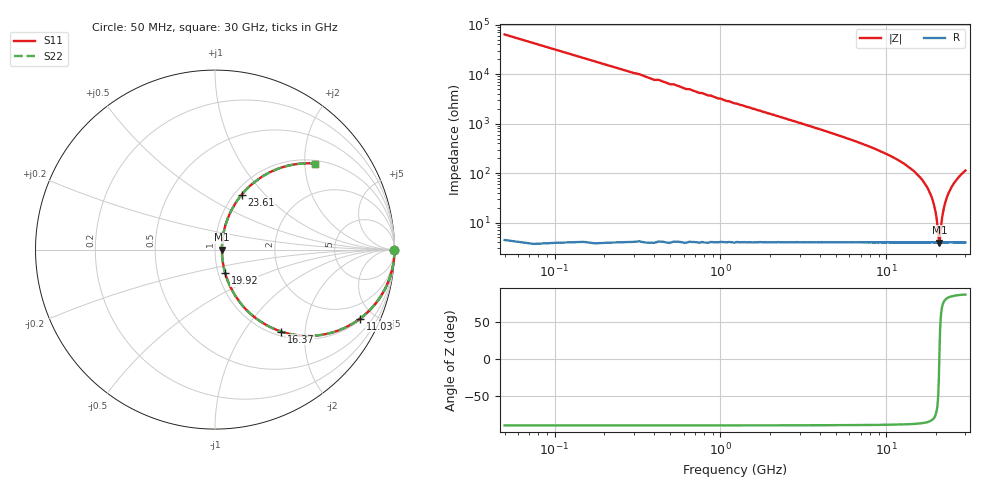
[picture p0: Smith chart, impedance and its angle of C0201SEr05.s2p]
!	AVX Thin Film Operation 	Date: April 2014
!	Description: Accu-P® Series, Thin Film  SMD RF Capacitor
!	Part Number: 02011JR05ZBSTR
# MHZ S MA R 50
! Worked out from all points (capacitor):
!   1201 points, 50 MHz to 30 GHz, reference 50 ohm
!   read as one part in series: C = 50 fF near 199.8 MHz
!   lowest |Z| = 3.95 ohm at 20.89 GHz (marker M1)
!   series resonance near 20.89 GHz, so ESL is about 1.2 nH
!   S11 on the Smith chart (normalised r, x): 50 MHz: open; 11.03 GHz: 1.08, -4.16; 16.37 GHz: 1.08, -1.50; 19.92 GHz: 1.08, -0.29; 23.61 GHz: 1.08, +0.75; 30 GHz: 1.08, +2.26
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50  1 -0.1  0.001571 89.9  0.001571 89.9  1 -0.1
274.625  1 -0.5  0.008629 89.5  0.008629 89.5  1 -0.5
449.333  1 -0.8  0.014 89.2  0.014 89.2  1 -0.8
748.833  1 -1.3  0.024 88.6  0.024 88.6  1 -1.3
1173.125  0.999 -2.1  0.037 87.8  0.037 87.8  0.999 -2.1
2695.583  0.996 -4.9  0.086 84.9  0.086 84.9  0.996 -4.9
5041.667  0.985 -9.5  0.166 80.1  0.166 80.1  0.985 -9.5
10058.29  0.92 -22.2  0.378 66.8  0.378 66.8  0.92 -22.2
11031.67  0.895 -25.5  0.43 63.4  0.43 63.4  0.895 -25.5
15025  0.702 -43.2  0.686 44.5  0.686 44.5  0.702 -43.2
16372.75  0.586 -51.2  0.78 35.8  0.78 35.8  0.586 -51.2
18544.12  0.332 -64.4  0.908 19.3  0.908 19.3  0.332 -64.4
19916.83  0.143 -66.7  0.952 8.0  0.952 8.0  0.143 -66.7
20016.67  0.13 -65.8  0.954 7.1  0.954 7.1  0.13 -65.8
20740.46  0.044 -27.3  0.961 1.2  0.961 1.2  0.044 -27.3
20890.21  0.038 0.3  0.962 -0.0  0.962 -0.0  0.038 0.3
21039.96  0.044 27.6  0.961 -1.2  0.961 -1.2  0.044 27.6
21589.04  0.104 62.8  0.957 -5.5  0.957 -5.5  0.104 62.8
22038.29  0.16 67.3  0.95 -8.9  0.95 -8.9  0.16 67.3
23610.67  0.341 64.1  0.905 -19.8  0.905 -19.8  0.341 64.1
25033.29  0.472 57.8  0.848 -28.1  0.848 -28.1  0.472 57.8
30000  0.736 40.7  0.652 -47.3  0.652 -47.3  0.736 40.7
